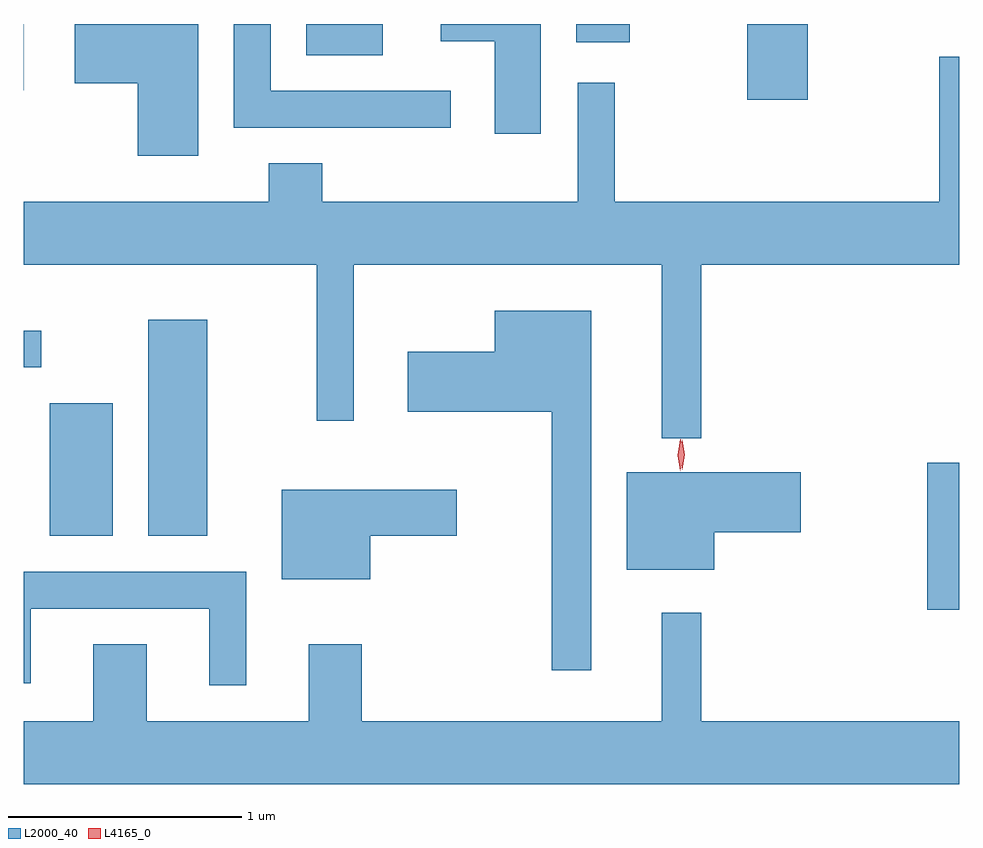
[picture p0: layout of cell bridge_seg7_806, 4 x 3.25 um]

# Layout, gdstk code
import gdstk
lib = gdstk.Library(unit=1e-6, precision=1e-09)
def R(c, l, rs):  # rectangles x0, y0, x1, y1
    for r in rs: c.add(gdstk.rectangle(r[:2], r[2:], *l))
def P(c, l, *ps):  # polygons
    for p in ps: c.add(gdstk.Polygon(p, *l))
L2000_40 = (2000, 40)
L4165_0 = (4165, 0)

bridge_seg7_806 = lib.new_cell('bridge_seg7_806')
R(bridge_seg7_806, L2000_40, [(284.486,1739.481,284.623,1740.109), (280.736,1739.796,281.004,1740.364), (281.156,1739.796,281.409,1740.719), (280.623,1740.516,280.698,1740.674), (283.716,1741.661,283.974,1741.984), (280.623,1741.701,280.624,1741.984), (281.831,1741.851,282.159,1741.984), (282.986,1741.906,283.214,1741.984)])
P(bridge_seg7_806, L2000_40, [(282.834,1741.984),(282.406,1741.984),(282.406,1741.911),(282.636,1741.911),(282.636,1741.516),(282.834,1741.516)],
  [(281.369,1741.984),(280.841,1741.984),(280.841,1741.731),(281.111,1741.731),(281.111,1741.421),(281.369,1741.421)],
  [(282.448,1741.699),(281.679,1741.699),(281.679,1741.984),(281.521,1741.984),(281.521,1741.541),(282.448,1741.541)],
  [(283.149,1741.733),(282.991,1741.733),(282.991,1741.224),(281.899,1741.224),(281.899,1741.389),(281.671,1741.389),(281.671,1741.224),(280.623,1741.224),(280.623,1740.956),(281.876,1740.956),(281.876,1740.288),(282.034,1740.288),(282.034,1740.956),(283.351,1740.956),(283.351,1740.213),(283.519,1740.213),(283.519,1740.956),(284.623,1740.956),(284.623,1741.844),(284.536,1741.844),(284.536,1741.224),(283.149,1741.224)],
  [(283.049,1740.759),(282.636,1740.759),(282.636,1740.584),(282.266,1740.584),(282.266,1740.326),(282.881,1740.326),(282.881,1739.223),(283.049,1739.223)],
  [(283.574,1739.811),(283.944,1739.811),(283.944,1740.069),(283.201,1740.069),(283.201,1739.651),(283.574,1739.651)],
  [(282.104,1739.796),(282.474,1739.796),(282.474,1739.994),(281.726,1739.994),(281.726,1739.611),(282.104,1739.611)],
  [(281.574,1739.644),(280.623,1739.644),(280.623,1739.166),(280.654,1739.166),(280.654,1739.486),(281.416,1739.486),(281.416,1739.158),(281.574,1739.158)],
  [(284.623,1739.004),(283.519,1739.004),(283.519,1739.468),(283.351,1739.468),(283.351,1739.004),(282.069,1739.004),(282.069,1739.334),(281.841,1739.334),(281.841,1739.004),(281.149,1739.004),(281.149,1739.334),(280.921,1739.334),(280.921,1739.004),(280.623,1739.004),(280.623,1738.736),(284.623,1738.736)])
P(bridge_seg7_806, L4165_0, [(283.429,1740.074),(283.42,1740.142),(283.43,1740.21),(283.431,1740.21),(283.432,1740.21),(283.44,1740.142),(283.43,1740.074),(283.43,1740.074)],
  [(283.438,1740.08),(283.438,1740.08),(283.428,1740.144),(283.438,1740.206),(283.438,1740.207),(283.439,1740.206),(283.448,1740.144),(283.439,1740.08)])

lib.write_gds('bridge_seg7_806.gds')
